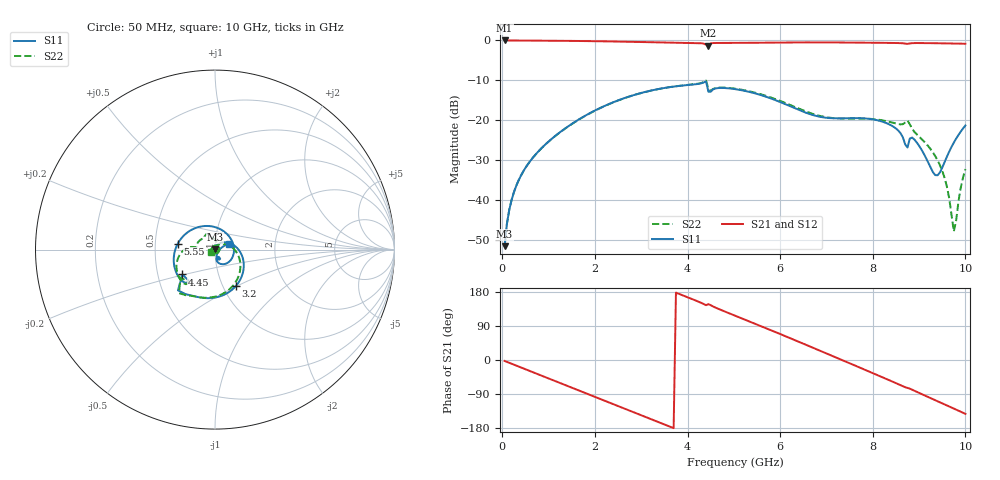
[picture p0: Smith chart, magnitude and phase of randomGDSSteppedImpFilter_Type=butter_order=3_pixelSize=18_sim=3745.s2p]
! freq	dB(S11)	phase(S11)	dB(S12)	phase(S12)
!  dB(S21)	phase(S21)	dB(S22)	phase(S22)
!S-par simulation data
#  GHz  S  DB  R 50
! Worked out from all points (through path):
!   200 points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, 50 MHz to 10 GHz, reference 50 ohm
!   highest |S21| = -0.01 dB at 50 MHz (marker M1); lowest = -1.3 dB at 4.45 GHz (marker M2)
!   group delay of S21, straight-line fit = 138 ps
!   lowest |S11| = -51.6 dB at 50 MHz (marker M3), VSWR 1.01, Z = 50.1 + j0.258 ohm
!   |S11| at or under -10 dB: start of sweep to end of sweep
!   |S22| runs from -51.5 to -10.0 dB; largest |S21 - S12| = 0
!   S11 on the Smith chart (normalised r, x): 50 MHz: 1.00, +0.01; 3.2 GHz: 1.14, -0.50; 4.45 GHz: 0.67, -0.20; 5.55 GHz: 0.66, +0.05; 10 GHz: 1.17, +0.08
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0.05  -51.56 77.2  -0.01 -2.5  -0.01 -2.5  -51.54 76.7
0.2  -40.01 78.3  -0.02 -9.8  -0.02 -9.8  -40.00 75.9
0.45  -32.88 69.0  -0.03 -22.0  -0.03 -22.0  -32.88 63.9
1.15  -23.86 39.4  -0.08 -56.0  -0.08 -56.0  -23.90 28.6
1.75  -19.13 11.5  -0.15 -85.2  -0.15 -85.2  -19.17 -1.0
2.4  -15.47 -20.5  -0.26 -116.9  -0.26 -116.9  -15.51 -32.4
3.2  -12.59 -60.8  -0.44 -155.7  -0.44 -155.7  -12.60 -69.5
3.4  -12.11 -71.0  -0.49 -165.3  -0.49 -165.3  -12.12 -78.6
4.4  -10.27 -132.3  -1.08 144.6  -1.08 144.6  -10.04 -129.6
4.45  -12.84 -142.6  -1.33 147.5  -1.33 147.5  -12.12 -141.2
5.05  -12.24 -158.2  -0.62 115.9  -0.62 115.9  -12.12 -147.8
5.55  -13.57 170.7  -0.57 91.2  -0.57 91.2  -13.38 -165.7
6.1  -15.92 130.3  -0.52 63.5  -0.52 63.5  -15.61 179.1
6.7  -18.67 73.4  -0.49 32.8  -0.49 32.8  -18.38 173.0
7.5  -19.47 -7.3  -0.53 -8.6  -0.53 -8.6  -19.56 171.1
8.35  -21.00 -65.4  -0.62 -53.0  -0.62 -53.0  -20.37 143.8
8.75  -26.83 -62.0  -0.86 -73.6  -0.86 -73.6  -20.07 119.6
8.9  -24.86 -72.9  -0.66 -81.3  -0.66 -81.3  -22.93 102.7
9.35  -33.76 -39.1  -0.70 -106.1  -0.70 -106.1  -29.01 71.4
9.6  -29.16 14.4  -0.74 -119.8  -0.74 -119.8  -36.60 42.7
9.75  -25.60 21.8  -0.77 -128.1  -0.77 -128.1  -47.88 -34.5
10  -21.31 22.5  -0.83 -142.1  -0.83 -142.1  -32.23 -148.8
